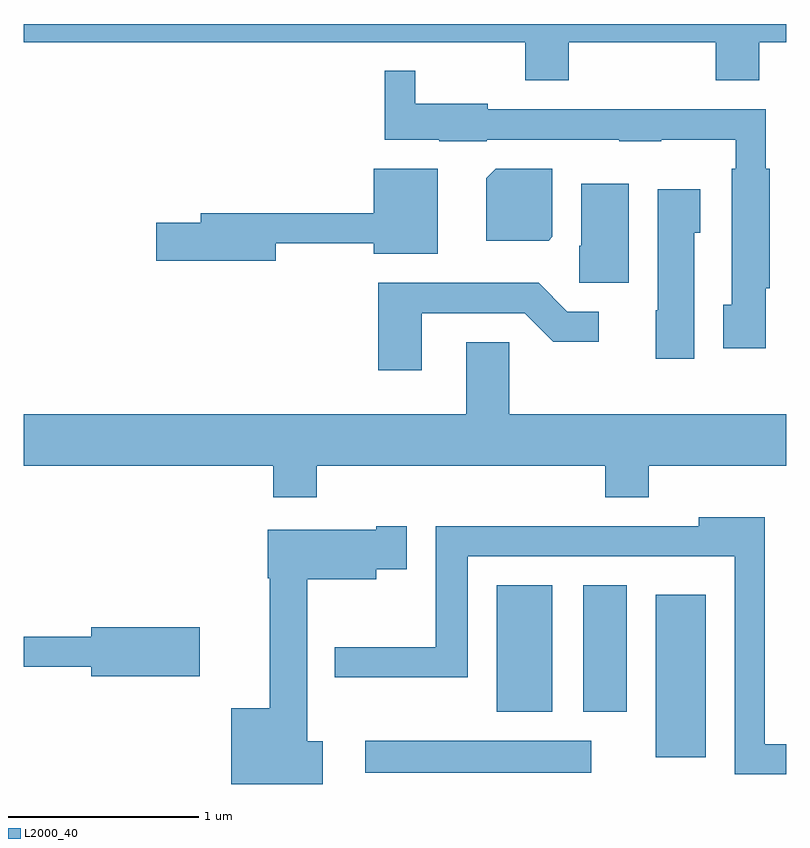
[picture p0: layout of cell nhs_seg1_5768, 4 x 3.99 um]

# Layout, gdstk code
import gdstk
lib = gdstk.Library(unit=1e-6, precision=1e-09)
def R(c, l, rs):  # rectangles x0, y0, x1, y1
    for r in rs: c.add(gdstk.rectangle(r[:2], r[2:], *l))
def P(c, l, *ps):  # polygons
    for p in ps: c.add(gdstk.Polygon(p, *l))
L2000_40 = (2000, 40)

nhs_seg1_5768 = lib.new_cell('nhs_seg1_5768')
R(nhs_seg1_5768, L2000_40, [(361.403,855.786,362.588,855.954), (362.926,855.866,363.189,856.719), (362.091,856.106,362.384,856.769), (362.546,856.106,362.774,856.769)])
P(nhs_seg1_5768, L2000_40, [(362.469,859.616),(363.241,859.616),(363.241,859.416),(363.469,859.416),(363.469,859.616),(363.611,859.616),(363.611,859.712),(359.611,859.712),(359.611,859.616),(362.241,859.616),(362.241,859.416),(362.469,859.416)],
  [(363.504,858.326),(363.524,858.326),(363.524,858.954),(363.504,858.954),(363.504,859.264),(362.044,859.264),(362.044,859.294),(361.664,859.294),(361.664,859.468),(361.506,859.468),(361.506,859.106),(361.79,859.106),(361.79,859.096),(362.04,859.096),(362.04,859.106),(362.735,859.106),(362.735,859.096),(362.955,859.096),(362.955,859.106),(363.346,859.106),(363.346,858.954),(363.326,858.954),(363.326,858.239),(363.281,858.239),(363.281,858.011),(363.504,858.011)],
  [(362.384,858.597),(362.384,858.954),(362.087,858.954),(362.036,858.904),(362.036,858.576),(362.364,858.576)],
  [(360.934,858.561),(361.446,858.561),(361.446,858.506),(361.784,858.506),(361.784,858.954),(361.446,858.954),(361.446,858.719),(360.541,858.719),(360.541,858.669),(360.306,858.669),(360.306,858.471),(360.934,858.471)],
  [(362.784,858.874),(362.536,858.874),(362.536,858.55),(362.526,858.55),(362.526,858.356),(362.784,858.356)],
  [(363.129,858.616),(363.159,858.616),(363.159,858.844),(362.936,858.844),(362.936,858.21),(362.926,858.21),(362.926,857.956),(363.129,857.956)],
  [(361.699,858.196),(362.239,858.196),(362.389,858.046),(362.628,858.046),(362.628,858.204),(362.462,858.204),(362.312,858.354),(361.471,858.354),(361.471,857.896),(361.699,857.896)],
  [(361.149,857.396),(362.661,857.396),(362.661,857.231),(362.889,857.231),(362.889,857.396),(363.611,857.396),(363.611,857.664),(362.159,857.664),(362.159,858.044),(361.931,858.044),(361.931,857.664),(359.611,857.664),(359.611,857.396),(360.921,857.396),(360.921,857.231),(361.149,857.231)],
  [(363.611,855.934),(363.499,855.934),(363.499,857.124),(363.151,857.124),(363.151,857.079),(361.771,857.079),(361.771,856.444),(361.243,856.444),(361.243,856.286),(361.939,856.286),(361.939,856.921),(363.341,856.921),(363.341,855.776),(363.611,855.776)],
  [(361.179,855.949),(361.099,855.949),(361.099,856.801),(361.459,856.801),(361.459,856.851),(361.619,856.851),(361.619,857.079),(361.461,857.079),(361.461,857.059),(360.891,857.059),(360.891,856.805),(360.901,856.805),(360.901,856.124),(360.701,856.124),(360.701,855.726),(361.179,855.726)],
  [(360.534,856.549),(359.966,856.549),(359.966,856.499),(359.611,856.499),(359.611,856.341),(359.966,856.341),(359.966,856.291),(360.534,856.291)])

lib.write_gds('nhs_seg1_5768.gds')
